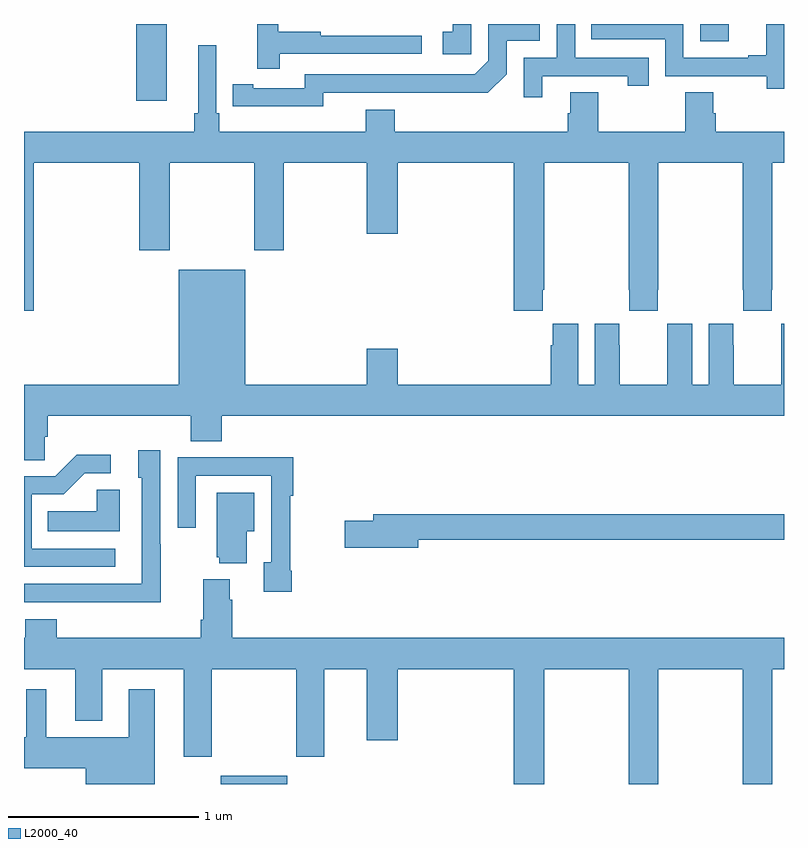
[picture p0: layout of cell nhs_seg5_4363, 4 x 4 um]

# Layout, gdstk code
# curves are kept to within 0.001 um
import gdstk
lib = gdstk.Library(unit=1e-6, precision=1e-09)
def R(c, l, rs):  # rectangles x0, y0, x1, y1
    for r in rs: c.add(gdstk.rectangle(r[:2], r[2:], *l))
def P(c, l, *ps):  # polygons
    for p in ps: c.add(gdstk.Polygon(p, *l))
L2000_40 = (2000, 40)

nhs_seg5_4363 = lib.new_cell('nhs_seg5_4363')
R(nhs_seg5_4363, L2000_40, [(368.036,878.799,368.386,878.842), (367.592,882.396,367.75,882.799), (370.56,882.708,370.708,882.799)])
P(nhs_seg5_4363, L2000_40, [(368.345,882.642),(369.094,882.642),(369.094,882.738),(368.561,882.738),(368.561,882.758),(368.338,882.758),(368.338,882.799),(368.228,882.799),(368.228,882.564),(368.345,882.564)],
  [(368.574,882.438),(369.442,882.437),(369.54,882.534),(369.54,882.711),(369.714,882.711),(369.714,882.799),(369.444,882.799),(369.444,882.606),(369.372,882.534),(368.478,882.534),(368.478,882.462),(368.206,882.462),(368.206,882.482),(368.098,882.482),(368.098,882.366),(368.574,882.365)],
  [(371,882.799),(370.907,882.799),(370.907,882.634),(370.811,882.634),(370.811,882.621),(370.47,882.621),(370.47,882.799),(369.985,882.799),(369.985,882.72),(370.374,882.72),(370.374,882.525),(370.908,882.525),(370.908,882.457),(371,882.457)],
  [(369.354,882.799),(369.257,882.799),(369.257,882.759),(369.204,882.759),(369.204,882.639),(369.354,882.639)],
  [(369.727,882.525),(370.178,882.525),(370.178,882.474),(370.289,882.474),(370.289,882.621),(369.9,882.621),(369.9,882.799),(369.804,882.799),(369.804,882.621),(369.63,882.621),(369.63,882.414),(369.727,882.414)],
  [(367.052,882.068),(367.607,882.068),(367.607,881.607),(367.767,881.607),(367.767,882.068),(368.212,882.068),(368.212,881.607),(368.367,881.607),(368.367,882.068),(368.804,882.068),(368.804,881.694),(368.968,881.694),(368.968,882.068),(369.578,882.068),(369.578,881.289),(369.731,881.289),(369.731,881.401),(369.738,881.401),(369.738,882.068),(370.183,882.068),(370.183,881.401),(370.185,881.401),(370.185,881.289),(370.335,881.289),(370.335,881.401),(370.338,881.401),(370.338,882.068),(370.783,882.068),(370.783,881.401),(370.785,881.401),(370.785,881.289),(370.935,881.289),(370.935,881.401),(370.938,881.401),(370.938,882.068),(371,882.068),(371,882.232),(370.64,882.232),(370.64,882.33),(370.627,882.33),(370.627,882.44),(370.48,882.44),(370.48,882.232),(370.023,882.232),(370.023,882.44),(369.875,882.44),(369.875,882.33),(369.863,882.33),(369.863,882.232),(368.951,882.232),(368.951,882.349),(368.798,882.349),(368.798,882.232),(368.027,882.232),(368.027,882.328),(368.013,882.328),(368.013,882.688),(367.916,882.688),(367.916,882.328),(367.897,882.328),(367.897,882.232),(367,882.232),(367,881.289),(367.052,881.289)],
  [(367.11,880.627),(367.124,880.627),(367.124,880.736),(367.877,880.736),(367.877,880.603),(368.042,880.603),(368.042,880.736),(371,880.736),(371,881.221),(370.986,881.221),(370.986,881.108),(370.985,881.108),(370.985,880.9),(370.735,880.9),(370.735,881.108),(370.734,881.108),(370.734,881.221),(370.604,881.221),(370.604,880.9),(370.516,880.9),(370.516,881.221),(370.386,881.221),(370.386,881.108),(370.385,881.108),(370.385,880.9),(370.135,880.9),(370.135,881.108),(370.134,881.108),(370.134,881.221),(370.004,881.221),(370.004,880.9),(369.916,880.9),(369.916,881.221),(369.782,881.221),(369.782,881.108),(369.773,881.108),(369.773,880.9),(368.968,880.9),(368.968,881.089),(368.804,881.089),(368.804,880.9),(368.164,880.9),(368.164,881.506),(367.814,881.506),(367.814,880.9),(367,880.9),(367,880.504),(367.11,880.504)],
  [(367.719,880.061),(367.716,880.061),(367.716,880.555),(367.601,880.555),(367.601,880.41),(367.62,880.41),(367.62,879.852),(367,879.852),(367,879.756),(367.255,879.756),(367.255,879.755),(367.719,879.755)],
  [(367.48,880.038),(367.041,880.038),(367.041,880.323),(367.21,880.323),(367.321,880.434),(367.456,880.434),(367.456,880.532),(367.277,880.532),(367.164,880.419),(367,880.419),(367,879.942),(367.48,879.942)],
  [(368.41,879.922),(368.402,879.922),(368.402,880.315),(368.417,880.315),(368.417,880.52),(368.125,880.52),(368.125,880.518),(367.809,880.518),(367.809,880.149),(367.905,880.149),(367.905,880.422),(368.301,880.422),(368.301,879.966),(368.261,879.966),(368.261,879.81),(368.41,879.81)],
  [(367.504,880.349),(367.383,880.349),(367.383,880.234),(367.126,880.234),(367.126,880.13),(367.504,880.13)],
  [(368.173,880.13),(368.212,880.13),(368.212,880.333),(368.015,880.333),(368.015,879.993),(368.027,879.993),(368.027,879.962),(368.173,879.962)],
  [(369.076,880.084),(371,880.084),(371,880.22),(368.837,880.22),(368.837,880.184),(368.688,880.184),(368.688,880.042),(369.076,880.042)],
  [(369.738,879.404),(370.183,879.404),(370.183,878.799),(370.338,878.799),(370.338,879.404),(370.783,879.404),(370.783,878.799),(370.938,878.799),(370.938,879.404),(371,879.404),(371,879.568),(368.096,879.568),(368.096,879.77),(368.083,879.77),(368.083,879.877),(367.943,879.877),(367.943,879.664),(367.931,879.664),(367.931,879.568),(367.172,879.568),(367.172,879.667),(367.007,879.667),(367.007,879.568),(367,879.568),(367,879.404),(367.271,879.404),(367.271,879.131),(367.411,879.131),(367.411,879.404),(367.841,879.404),(367.841,878.943),(367.989,878.943),(367.989,879.404),(368.434,879.404),(368.434,878.943),(368.581,878.943),(368.581,879.404),(368.804,879.404),(368.804,879.03),(368.968,879.03),(368.968,879.404),(369.578,879.404),(369.578,878.799),(369.738,878.799)],
  [(367.687,879.298),(367.55,879.298),(367.55,879.046),(367.117,879.046),(367.117,879.298),(367.013,879.298),(367.013,879.046),(367,879.046),(367,878.882),(367.325,878.882),(367.325,878.799),(367.687,878.799)])

lib.write_gds('nhs_seg5_4363.gds')
